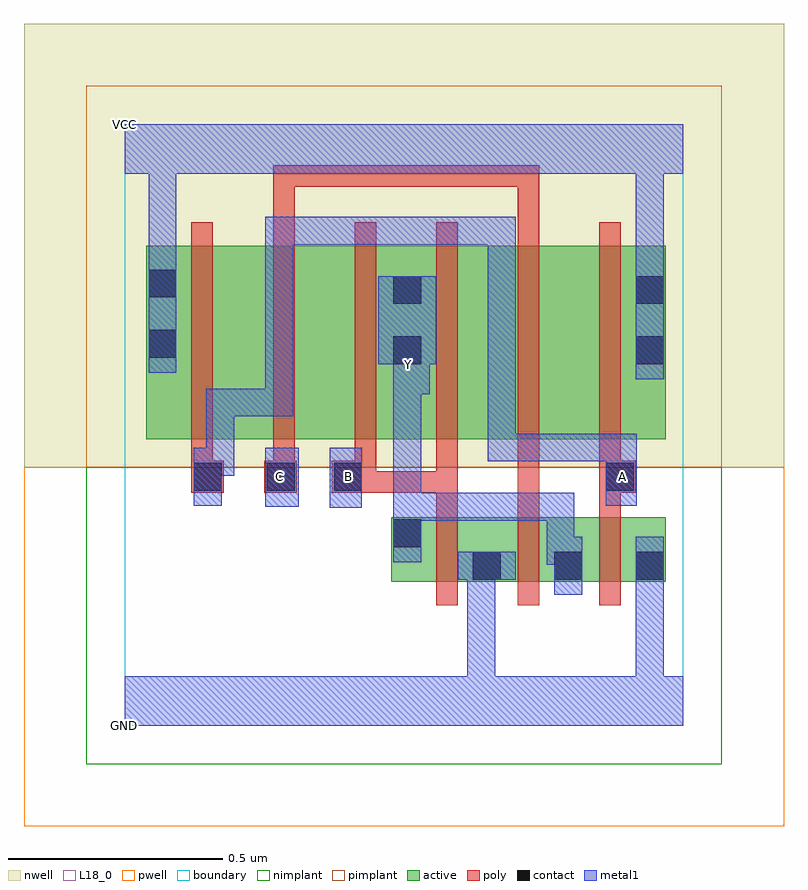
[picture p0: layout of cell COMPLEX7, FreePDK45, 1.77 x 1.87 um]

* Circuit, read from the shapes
.subckt COMPLEX7 A B C GND VCC Y
M1 GND B Y VSUBS nfet w=0.15u l=0.05u
M2 Y C GND VSUBS nfet w=0.15u l=0.05u
M3 GND A Y VSUBS nfet w=0.15u l=0.05u
M4 n1 A VCC n2 pfet w=0.45u l=0.05u
M5 n3 C n1 n2 pfet w=0.45u l=0.05u
M6 Y B n3 n2 pfet w=0.45u l=0.05u
M7 n4 B Y n2 pfet w=0.45u l=0.05u
M8 n5 C n4 n2 pfet w=0.45u l=0.05u
M9 VCC A n5 n2 pfet w=0.45u l=0.05u
.ends

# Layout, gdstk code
import gdstk
lib = gdstk.Library(unit=1e-6, precision=1e-09)
def R(c, l, rs):  # rectangles x0, y0, x1, y1
    for r in rs: c.add(gdstk.rectangle(r[:2], r[2:], *l))
def A(c, l, x, y, w, h, nx, ny, dx, dy):  # array of equal rectangles
    R(c, l, [(x+i*dx, y+j*dy, x+i*dx+w, y+j*dy+h) for i in range(nx) for j in range(ny)])
active = (1, 0)
pwell = (2, 0)
nwell = (3, 0)
nimplant = (4, 0)
pimplant = (5, 0)
poly = (9, 0)
contact = (10, 0)
metal1 = (11, 0)
L18_0 = (18, 0)
boundary = (235, 0)

complex7 = lib.new_cell('COMPLEX7')
R(complex7, active, [(0.62,0.335,0.88,0.485), (0.805,0.335,1.07,0.485), (0.805,0.335,0.88,0.41), (0.995,0.335,1.26,0.485), (0.995,0.335,1.07,0.41), (1.185,0.335,1.26,0.485), (0.62,0.397,0.695,0.485), (0.05,0.667,0.125,1.117), (0.05,0.667,0.275,1.117), (0.275,0.667,0.465,1.117), (0.465,0.667,0.695,1.117), (0.62,0.667,0.845,1.117), (0.62,0.667,0.695,1.07), (0.845,0.667,1.035,1.117), (1.035,0.667,1.26,1.117), (1.185,0.667,1.26,1.117)])
R(complex7, pwell, [(-0.235,-0.235,1.535,0.602)])
R(complex7, nwell, [(-0.235,0.602,1.535,1.635)])
R(complex7, nimplant, [(-0.09,-0.09,1.39,0.602)])
R(complex7, pimplant, [(-0.09,0.602,1.39,1.49)])
A(complex7, poly, 0.725, 0.28, 0.05, 0.26, 3, 1, 0.19, 0)
A(complex7, poly, 0.155, 0.567, 0.05, 0.095, 3, 1, 0.19, 0)
A(complex7, poly, 0.155, 0.612, 0.05, 0.56, 6, 1, 0.19, 0)
R(complex7, poly, [(0.725,0.49,0.775,0.592), (0.915,0.49,0.965,0.585), (1.105,0.49,1.155,0.592), (0.915,0.535,0.965,0.585), (0.915,0.535,0.965,0.662), (0.155,0.542,0.23,0.617), (0.325,0.542,0.4,0.617), (0.482,0.542,0.585,0.617), (0.535,0.542,0.775,0.592), (0.725,0.542,0.775,0.592), (0.725,0.542,0.775,0.592), (0.725,0.542,0.775,0.592), (0.725,0.542,0.775,0.662), (1.105,0.542,1.19,0.617), (1.105,0.567,1.155,0.662), (0.345,1.122,0.395,1.305), (0.915,1.122,0.965,1.305), (0.345,1.255,0.395,1.305), (0.345,1.255,0.642,1.305), (0.592,1.255,0.642,1.305), (0.592,1.255,0.642,1.305), (0.592,1.255,0.642,1.305), (0.592,1.255,0.775,1.305), (0.725,1.255,0.775,1.305), (0.725,1.255,0.775,1.305), (0.725,1.255,0.775,1.305), (0.725,1.255,0.965,1.305), (0.915,1.255,0.965,1.305), (0.915,1.255,0.965,1.305), (0.915,1.255,0.965,1.305)])
A(complex7, contact, 0.81, 0.34, 0.065, 0.065, 3, 1, 0.19, 0)
R(complex7, contact, [(0.625,0.415,0.69,0.48), (0.16,0.547,0.225,0.612), (0.33,0.547,0.395,0.612), (0.487,0.547,0.552,0.612), (1.12,0.547,1.185,0.612), (0.625,0.842,0.69,0.907), (1.19,0.842,1.255,0.907), (0.055,0.857,0.12,0.922), (0.625,0.982,0.69,1.047), (1.19,0.982,1.255,1.047), (0.055,0.997,0.12,1.062)])
R(complex7, metal1, [(0,0,1.3,0.115), (0.797,0.05,0.862,0.115), (0.797,0.05,0.862,0.115), (0.797,0.05,0.862,0.115), (0.797,0.05,0.862,0.115), (0.797,0.05,0.862,0.405), (1.19,0.05,1.255,0.37), (1,0.305,1.065,0.44), (1.19,0.305,1.255,0.37), (1.19,0.305,1.255,0.37), (1.19,0.305,1.255,0.37), (1.19,0.305,1.255,0.37), (1.19,0.305,1.255,0.44), (0.775,0.34,0.91,0.405), (0.982,0.375,1.065,0.44), (0.982,0.375,1.047,0.542), (0.625,0.38,0.69,0.515), (0.625,0.45,0.69,0.515), (0.625,0.45,0.69,0.542), (0.625,0.45,0.69,0.837), (0.625,0.477,0.91,0.542), (0.845,0.477,0.91,0.542), (0.845,0.477,1.047,0.542), (0.477,0.507,0.552,0.647), (0.327,0.51,0.405,0.647), (0.16,0.512,0.225,0.647), (1.12,0.512,1.192,0.68), (0.16,0.582,0.255,0.647), (0.19,0.582,0.255,0.647), (0.19,0.582,0.255,0.785), (0.845,0.615,0.91,0.68), (0.845,0.615,0.91,0.68), (0.845,0.615,0.91,0.68), (0.845,0.615,1.047,0.68), (0.845,0.615,0.91,1.185), (0.982,0.615,1.047,0.68), (0.982,0.615,1.047,0.68), (0.982,0.615,1.047,0.68), (0.982,0.615,1.185,0.68), (0.19,0.72,0.255,0.785), (0.19,0.72,0.392,0.785), (0.327,0.72,0.392,0.785), (0.327,0.72,0.392,0.785), (0.327,0.72,0.392,0.785), (0.327,0.72,0.392,1.185), (0.625,0.772,0.71,0.907), (1.19,0.807,1.255,1.082), (0.055,0.822,0.12,1.097), (0.59,0.842,0.725,1.047), (0.625,0.842,0.69,0.907), (1.19,1.017,1.255,1.082), (1.19,1.017,1.255,1.082), (1.19,1.017,1.255,1.35), (0.055,1.032,0.12,1.35), (0.327,1.12,0.392,1.185), (0.327,1.12,0.552,1.185), (0.487,1.12,0.552,1.185), (0.487,1.12,0.552,1.185), (0.487,1.12,0.552,1.185), (0.487,1.12,0.91,1.185), (0.845,1.12,0.91,1.185), (0.845,1.12,0.91,1.185), (0.845,1.12,0.91,1.185), (0,1.285,1.3,1.4), (0.055,1.285,0.12,1.35), (0.055,1.285,0.12,1.35)])
R(complex7, L18_0, [(0,0,1.3,0.115), (0.797,0.05,0.862,0.115), (0.797,0.05,0.862,0.115), (0.797,0.05,0.862,0.115), (0.797,0.05,0.862,0.115), (0.797,0.05,0.862,0.405), (1.19,0.05,1.255,0.37), (1,0.305,1.065,0.44), (1.19,0.305,1.255,0.37), (1.19,0.305,1.255,0.37), (1.19,0.305,1.255,0.37), (1.19,0.305,1.255,0.37), (1.19,0.305,1.255,0.44), (0.775,0.34,0.91,0.405), (0.982,0.375,1.047,0.542), (0.982,0.375,1.065,0.44), (0.625,0.38,0.69,0.515), (0.625,0.45,0.69,0.515), (0.625,0.45,0.69,0.837), (0.625,0.45,0.69,0.542), (0.625,0.477,0.91,0.542), (0.845,0.477,0.91,0.542), (0.845,0.477,1.047,0.542), (0.477,0.507,0.552,0.647), (0.327,0.51,0.405,0.647), (0.16,0.512,0.225,0.647), (1.12,0.512,1.192,0.68), (0.327,0.547,0.392,0.612), (0.487,0.547,0.552,0.612), (1.127,0.547,1.192,0.612), (0.16,0.582,0.255,0.647), (0.19,0.582,0.255,0.647), (0.19,0.582,0.255,0.785), (0.845,0.615,0.91,0.68), (0.845,0.615,0.91,0.68), (0.845,0.615,0.91,0.68), (0.845,0.615,1.047,0.68), (0.845,0.615,0.91,1.185), (0.982,0.615,1.047,0.68), (0.982,0.615,1.047,0.68), (0.982,0.615,1.047,0.68), (0.982,0.615,1.185,0.68), (0.19,0.72,0.255,0.785), (0.19,0.72,0.392,0.785), (0.327,0.72,0.392,0.785), (0.327,0.72,0.392,0.785), (0.327,0.72,0.392,0.785), (0.327,0.72,0.392,1.185), (0.625,0.772,0.71,0.907), (0.627,0.807,0.692,0.872), (1.19,0.807,1.255,1.082), (0.055,0.822,0.12,1.097), (0.59,0.842,0.725,1.047), (0.625,0.842,0.69,0.907), (1.19,1.017,1.255,1.082), (1.19,1.017,1.255,1.082), (1.19,1.017,1.255,1.35), (0.055,1.032,0.12,1.35), (0.327,1.12,0.392,1.185), (0.327,1.12,0.552,1.185), (0.487,1.12,0.552,1.185), (0.487,1.12,0.552,1.185), (0.487,1.12,0.552,1.185), (0.487,1.12,0.91,1.185), (0.845,1.12,0.91,1.185), (0.845,1.12,0.91,1.185), (0.845,1.12,0.91,1.185), (0,1.285,1.3,1.4), (0.055,1.285,0.12,1.35), (0.055,1.285,0.12,1.35)])
R(complex7, boundary, [(0,0,1.3,1.4)])
complex7.add(gdstk.Label('A', (1.16,0.58), layer=11, texttype=0))
complex7.add(gdstk.Label('B', (0.52,0.58), layer=11, texttype=0))
complex7.add(gdstk.Label('C', (0.36,0.58), layer=11, texttype=0))
complex7.add(gdstk.Label('Y', (0.66,0.84), layer=11, texttype=0))
complex7.add(gdstk.Label('VCC', (0,1.4), layer=11, texttype=0))
complex7.add(gdstk.Label('GND', (0,0), layer=11, texttype=0))

lib.write_gds('COMPLEX7.gds')
